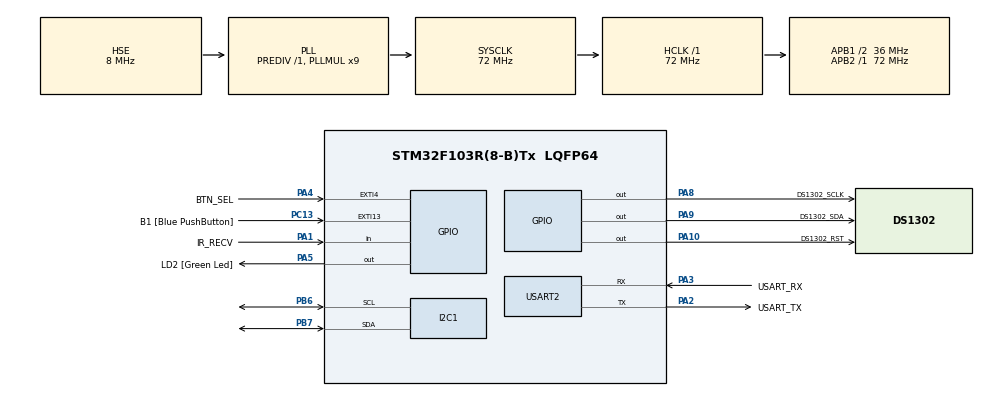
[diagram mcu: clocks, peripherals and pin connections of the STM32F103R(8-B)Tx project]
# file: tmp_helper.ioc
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Mcu.Family=STM32F1
Mcu.Name=STM32F103R(8-B)Tx
Mcu.Package=LQFP64
NVIC.EXTI15_10_IRQn=true\:0\:0\:false\:false\:true\:true\:true\:true
NVIC.EXTI4_IRQn=true\:0\:0\:false\:false\:true\:true\:true\:true
NVIC.PriorityGroup=NVIC_PRIORITYGROUP_4
PA1.GPIO_Label=IR_RECV
PA1.GPIO_PuPd=GPIO_PULLUP
PA1.Signal=GPIO_Input
PA10.GPIO_Label=DS1302_RST
PA10.GPIO_Speed=GPIO_SPEED_FREQ_HIGH
PA10.Signal=GPIO_Output
PA13.GPIO_Label=TMS
PA13.Mode=Serial_Wire
PA13.Signal=SYS_JTMS-SWDIO
PA14.GPIO_Label=TCK
PA14.Mode=Serial_Wire
PA14.Signal=SYS_JTCK-SWCLK
PA2.GPIO_Label=USART_TX
PA2.GPIO_Mode=GPIO_MODE_AF_PP
PA2.GPIO_PuPd=GPIO_NOPULL
PA2.GPIO_Speed=GPIO_SPEED_FREQ_LOW
PA2.Mode=Asynchronous
PA2.Signal=USART2_TX
PA3.GPIO_Label=USART_RX
PA3.GPIO_Mode=GPIO_MODE_AF_PP
PA3.GPIO_PuPd=GPIO_NOPULL
PA3.GPIO_Speed=GPIO_SPEED_FREQ_LOW
PA3.Mode=Asynchronous
PA3.Signal=USART2_RX
PA4.GPIO_Label=BTN_SEL
PA4.GPIO_PuPd=GPIO_PULLDOWN
PA4.Signal=GPXTI4
PA5.GPIO_Label=LD2 [Green Led]
PA5.GPIO_ModeDefaultOutputPP=GPIO_MODE_OUTPUT_PP
PA5.GPIO_PuPd=GPIO_NOPULL
PA5.GPIO_Speed=GPIO_SPEED_FREQ_LOW
PA5.Signal=GPIO_Output
PA8.GPIO_Label=DS1302_SCLK
PA8.GPIO_PuPd=GPIO_NOPULL
PA8.GPIO_Speed=GPIO_SPEED_FREQ_HIGH
PA8.Signal=GPIO_Output
PA9.GPIO_Label=DS1302_SDA
PA9.GPIO_Speed=GPIO_SPEED_FREQ_HIGH
PA9.Signal=GPIO_Output
PB3.GPIO_Label=SWO
PB3.Signal=SYS_JTDO-TRACESWO
PB6.Mode=I2C
PB6.Signal=I2C1_SCL
PB7.Mode=I2C
PB7.Signal=I2C1_SDA
PC13-TAMPER-RTC.GPIO_Label=B1 [Blue PushButton]
PC13-TAMPER-RTC.GPIO_PuPd=GPIO_NOPULL
PC13-TAMPER-RTC.Signal=GPXTI13
PC14-OSC32_IN.Mode=LSE-External-Oscillator
PC14-OSC32_IN.Signal=RCC_OSC32_IN
PC15-OSC32_OUT.Mode=LSE-External-Oscillator
PC15-OSC32_OUT.Signal=RCC_OSC32_OUT
PD0-OSC_IN.Mode=HSE-External-Clock-Source
PD0-OSC_IN.Signal=RCC_OSC_IN
PD1-OSC_OUT.Mode=HSE-External-Clock-Source
PD1-OSC_OUT.Signal=RCC_OSC_OUT
ProjectManager.HeapSize=0x200
ProjectManager.StackSize=0x400
ProjectManager.TargetToolchain=STM32CubeIDE
RCC.AHBFreq_Value=72000000
RCC.APB1CLKDivider=RCC_HCLK_DIV2
RCC.APB1Freq_Value=36000000
RCC.APB1TimFreq_Value=72000000
RCC.APB2Freq_Value=72000000
RCC.APB2TimFreq_Value=72000000
RCC.HCLKFreq_Value=72000000
RCC.PLLMUL=RCC_PLL_MUL9
RCC.PLLSourceVirtual=RCC_PLLSOURCE_HSE
RCC.RTCClockSelection=RCC_RTCCLKSOURCE_LSE
RCC.SYSCLKFreq_VALUE=72000000
RCC.SYSCLKSource=RCC_SYSCLKSOURCE_PLLCLK
RCC.USBFreq_Value=72000000
TIM2.AutoReloadPreload=TIM_AUTORELOAD_PRELOAD_ENABLE
TIM2.Prescaler=72-1
USART2.VirtualMode=VM_ASYNC
VP_TIM2_VS_ClockSourceINT.Mode=Internal
board=NUCLEO-F103RB

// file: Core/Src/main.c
/* USER CODE BEGIN Header */
/**
  ******************************************************************************
  * @file           : main.c
  * @brief          : Main program body
  ******************************************************************************
  * @attention
  *
  * Copyright (c) 2022 STMicroelectronics.
  * All rights reserved.
  *
  * This software is licensed under terms that can be found in the LICENSE file
  * in the root directory of this software component.
  * If no LICENSE file comes with this software, it is provided AS-IS.
  *
  ******************************************************************************
  */
/* USER CODE END Header */
#include "main.h"

/* USER CODE BEGIN Includes */
#include <string.h>
#include <stdio.h>
#include <stdbool.h>
#include "ds1302.h"
#include "ssd1306.h"
#include "tmp102.h"
#include "image.h"

/* USER CODE END Includes */

I2C_HandleTypeDef hi2c1;

TIM_HandleTypeDef htim2;

UART_HandleTypeDef huart2;

/* USER CODE BEGIN PV */
uint8_t changeScreen = 0;
uint8_t prevChangeScreen = 9;
static bool btnSel = false;
/* USER CODE END PV */

void SystemClock_Config(void);
static void MX_GPIO_Init(void);
static void MX_USART2_UART_Init(void);
static void MX_TIM2_Init(void);
static void MX_I2C1_Init(void);

/* USER CODE BEGIN 0 */
static void delay_us(uint16_t us) {
	__HAL_TIM_SET_COUNTER(&htim2, 0);
	while (__HAL_TIM_GET_COUNTER(&htim2) < us);
}

/* USER CODE END 0 */

int main(void)
{

  /* MCU Configuration--------------------------------------------------------*/

  /* Reset of all peripherals, Initializes the Flash interface and the Systick. */
  HAL_Init();

  /* Configure the system clock */
  SystemClock_Config();

  /* Initialize all configured peripherals */
  MX_GPIO_Init();
  MX_USART2_UART_Init();
  MX_TIM2_Init();
  MX_I2C1_Init();
  /* USER CODE BEGIN 2 */

  uint8_t buf[12];
  sprintf((char*)buf, "hello\r\n");
  HAL_UART_Transmit(&huart2, buf, strlen((char*)buf), HAL_MAX_DELAY);

  HAL_TIM_Base_Start(&htim2);
  DS1302_Init();
//  DS1302_WriteTime(buf);

  ssd1306_Init();
  ssd1306_FlipScreenVertically();
  ssd1306_Clear();
  ssd1306_SetColor(White);

  ssd1306_DrawBitmap(32, 0, 64, 64, Bochi_icon_mono_64);
  ssd1306_UpdateScreen();
  HAL_Delay(2000);

  // 年，月，日，星期，时，分，秒
  uint8_t datetime[7];
  for(int i=0; i<sizeof(datetime); i++)
	  datetime[i] = 0;

  // 更新温度，跳过循环标记
  uint8_t SKIP_FOR_TEMP = 9;
  uint8_t skipForTempCnt = 9;  // 计数
  // Temperature text buffer
  uint8_t tempBuf[12];
  // 1024 显示
  uint8_t x_1024 = 0;
  uint8_t x_step = 4;
  sprintf((char*)tempBuf, "0.0");

  /* USER CODE END 2 */

  /* Infinite loop */
  while (1)
  {

    /* USER CODE BEGIN 3 */
	// changeScreen 控制当前显示的内容
	// 最好记录 changeScreen 是否发生变化，使用 prevChangeScreen
	// 例如 时间，温度，关闭屏幕
	if(btnSel) {
		changeScreen ++;
		HAL_Delay(300);
	}

	if(changeScreen == 5) {
		changeScreen=0;
	}

	btnSel = false;
	// End of changeScreen

	if(changeScreen == 0 ) { //&& prevChangeScreen != changeScreen
		ssd1306_DisplayOff();
//		prevChangeScreen = changeScreen;
	} else if(changeScreen == 1) {
		// 显示时间
	  ssd1306_DisplayOn();
	  DS1302_ReadTime(datetime);

	  ssd1306_Clear();
	  ssd1306_SetCursor(20, 20);

	  sprintf((char*)buf, "%02d:%02d:%02d", datetime[4], datetime[5], datetime[6]);
	  ssd1306_WriteString((char*)buf, Font_11x18);
	  ssd1306_UpdateScreen();
	} else if (changeScreen == 2) {
		if(skipForTempCnt == SKIP_FOR_TEMP) {
			skipForTempCnt = 0;
			tmp102_ReadTemperature(tempBuf);
		}

		skipForTempCnt++;

		//显示温度
		ssd1306_Clear();

		ssd1306_SetCursor(8, 0);
		ssd1306_WriteString("Temperature 1", Font_7x10);
		ssd1306_SetCursor(8, 24);
		ssd1306_WriteString((char*)tempBuf, Font_11x18);
		ssd1306_UpdateScreen();
	} else if (changeScreen == 3) {
		if(x_1024 > 58) {
			x_step = -x_step;
		}

		ssd1306_Clear();
  		ssd1306_SetCursor(x_1024, 12);
  		ssd1306_WriteString("1024", Font_16x26);
  		ssd1306_UpdateScreen();
  		x_1024 += x_step;
  		prevChangeScreen = changeScreen;
  	} else if (changeScreen == 4 && prevChangeScreen != changeScreen) {
		prevChangeScreen = changeScreen;
		ssd1306_Clear();
  		ssd1306_DrawBitmap(16, 0, 94, 56, DoubleEleven);
  		ssd1306_UpdateScreen();
  	}

	HAL_Delay(100);
  }
  // End of while

  HAL_TIM_Base_Stop(&htim2);

  /* USER CODE END 3 */
}

void SystemClock_Config(void)
{
  RCC_OscInitTypeDef RCC_OscInitStruct = {0};
  RCC_ClkInitTypeDef RCC_ClkInitStruct = {0};

  /** Initializes the RCC Oscillators according to the specified parameters
  * in the RCC_OscInitTypeDef structure.
  */
  RCC_OscInitStruct.OscillatorType = RCC_OSCILLATORTYPE_HSE;
  RCC_OscInitStruct.HSEState = RCC_HSE_BYPASS;
  RCC_OscInitStruct.HSEPredivValue = RCC_HSE_PREDIV_DIV1;
  RCC_OscInitStruct.HSIState = RCC_HSI_ON;
  RCC_OscInitStruct.PLL.PLLState = RCC_PLL_ON;
  RCC_OscInitStruct.PLL.PLLSource = RCC_PLLSOURCE_HSE;
  RCC_OscInitStruct.PLL.PLLMUL = RCC_PLL_MUL9;
  if (HAL_RCC_OscConfig(&RCC_OscInitStruct) != HAL_OK)
  {
    Error_Handler();
  }

  /** Initializes the CPU, AHB and APB buses clocks
  */
  RCC_ClkInitStruct.ClockType = RCC_CLOCKTYPE_HCLK|RCC_CLOCKTYPE_SYSCLK
                              |RCC_CLOCKTYPE_PCLK1|RCC_CLOCKTYPE_PCLK2;
  RCC_ClkInitStruct.SYSCLKSource = RCC_SYSCLKSOURCE_PLLCLK;
  RCC_ClkInitStruct.AHBCLKDivider = RCC_SYSCLK_DIV1;
  RCC_ClkInitStruct.APB1CLKDivider = RCC_HCLK_DIV2;
  RCC_ClkInitStruct.APB2CLKDivider = RCC_HCLK_DIV1;

  if (HAL_RCC_ClockConfig(&RCC_ClkInitStruct, FLASH_LATENCY_2) != HAL_OK)
  {
    Error_Handler();
  }
}

static void MX_I2C1_Init(void)
{

  hi2c1.Instance = I2C1;
  hi2c1.Init.ClockSpeed = 100000;
  hi2c1.Init.DutyCycle = I2C_DUTYCYCLE_2;
  hi2c1.Init.OwnAddress1 = 0;
  hi2c1.Init.AddressingMode = I2C_ADDRESSINGMODE_7BIT;
  hi2c1.Init.DualAddressMode = I2C_DUALADDRESS_DISABLE;
  hi2c1.Init.OwnAddress2 = 0;
  hi2c1.Init.GeneralCallMode = I2C_GENERALCALL_DISABLE;
  hi2c1.Init.NoStretchMode = I2C_NOSTRETCH_DISABLE;
  if (HAL_I2C_Init(&hi2c1) != HAL_OK)
  {
    Error_Handler();
  }

}

static void MX_TIM2_Init(void)
{

  TIM_ClockConfigTypeDef sClockSourceConfig = {0};
  TIM_MasterConfigTypeDef sMasterConfig = {0};

  htim2.Instance = TIM2;
  htim2.Init.Prescaler = 72-1;
  htim2.Init.CounterMode = TIM_COUNTERMODE_UP;
  htim2.Init.Period = 65535;
  htim2.Init.ClockDivision = TIM_CLOCKDIVISION_DIV1;
  htim2.Init.AutoReloadPreload = TIM_AUTORELOAD_PRELOAD_ENABLE;
  if (HAL_TIM_Base_Init(&htim2) != HAL_OK)
  {
    Error_Handler();
  }
  sClockSourceConfig.ClockSource = TIM_CLOCKSOURCE_INTERNAL;
  if (HAL_TIM_ConfigClockSource(&htim2, &sClockSourceConfig) != HAL_OK)
  {
    Error_Handler();
  }
  sMasterConfig.MasterOutputTrigger = TIM_TRGO_RESET;
  sMasterConfig.MasterSlaveMode = TIM_MASTERSLAVEMODE_DISABLE;
  if (HAL_TIMEx_MasterConfigSynchronization(&htim2, &sMasterConfig) != HAL_OK)
  {
    Error_Handler();
  }

}

static void MX_USART2_UART_Init(void)
{

  huart2.Instance = USART2;
  huart2.Init.BaudRate = 115200;
  huart2.Init.WordLength = UART_WORDLENGTH_8B;
  huart2.Init.StopBits = UART_STOPBITS_1;
  huart2.Init.Parity = UART_PARITY_NONE;
  huart2.Init.Mode = UART_MODE_TX_RX;
  huart2.Init.HwFlowCtl = UART_HWCONTROL_NONE;
  huart2.Init.OverSampling = UART_OVERSAMPLING_16;
  if (HAL_UART_Init(&huart2) != HAL_OK)
  {
    Error_Handler();
  }

}

static void MX_GPIO_Init(void)
{
  GPIO_InitTypeDef GPIO_InitStruct = {0};

  /* GPIO Ports Clock Enable */
  __HAL_RCC_GPIOC_CLK_ENABLE();
  __HAL_RCC_GPIOD_CLK_ENABLE();
  __HAL_RCC_GPIOA_CLK_ENABLE();
  __HAL_RCC_GPIOB_CLK_ENABLE();

  /*Configure GPIO pin Output Level */
  HAL_GPIO_WritePin(GPIOA, LD2_Pin|DS1302_SCLK_Pin|DS1302_SDA_Pin|DS1302_RST_Pin, GPIO_PIN_RESET);

  /*Configure GPIO pin : B1_Pin */
  GPIO_InitStruct.Pin = B1_Pin;
  GPIO_InitStruct.Mode = GPIO_MODE_IT_RISING;
  GPIO_InitStruct.Pull = GPIO_NOPULL;
  HAL_GPIO_Init(B1_GPIO_Port, &GPIO_InitStruct);

  /*Configure GPIO pin : IR_RECV_Pin */
  GPIO_InitStruct.Pin = IR_RECV_Pin;
  GPIO_InitStruct.Mode = GPIO_MODE_INPUT;
  GPIO_InitStruct.Pull = GPIO_PULLUP;
  HAL_GPIO_Init(IR_RECV_GPIO_Port, &GPIO_InitStruct);

  /*Configure GPIO pin : BTN_SEL_Pin */
  GPIO_InitStruct.Pin = BTN_SEL_Pin;
  GPIO_InitStruct.Mode = GPIO_MODE_IT_RISING;
  GPIO_InitStruct.Pull = GPIO_PULLDOWN;
  HAL_GPIO_Init(BTN_SEL_GPIO_Port, &GPIO_InitStruct);

  /*Configure GPIO pin : LD2_Pin */
  GPIO_InitStruct.Pin = LD2_Pin;
  GPIO_InitStruct.Mode = GPIO_MODE_OUTPUT_PP;
  GPIO_InitStruct.Pull = GPIO_NOPULL;
  GPIO_InitStruct.Speed = GPIO_SPEED_FREQ_LOW;
  HAL_GPIO_Init(LD2_GPIO_Port, &GPIO_InitStruct);

  /*Configure GPIO pins : DS1302_SCLK_Pin DS1302_SDA_Pin DS1302_RST_Pin */
  GPIO_InitStruct.Pin = DS1302_SCLK_Pin|DS1302_SDA_Pin|DS1302_RST_Pin;
  GPIO_InitStruct.Mode = GPIO_MODE_OUTPUT_PP;
  GPIO_InitStruct.Pull = GPIO_NOPULL;
  GPIO_InitStruct.Speed = GPIO_SPEED_FREQ_HIGH;
  HAL_GPIO_Init(GPIOA, &GPIO_InitStruct);

  /* EXTI interrupt init*/
  HAL_NVIC_SetPriority(EXTI4_IRQn, 0, 0);
  HAL_NVIC_EnableIRQ(EXTI4_IRQn);

  HAL_NVIC_SetPriority(EXTI15_10_IRQn, 0, 0);
  HAL_NVIC_EnableIRQ(EXTI15_10_IRQn);

}

/* USER CODE BEGIN 4 */
void HAL_GPIO_EXTI_Callback(uint16_t GPIO_Pin)
{
  if(GPIO_Pin == BTN_SEL_Pin) {
	  btnSel = true;
  } else {
      __NOP();
  }
}
/* USER CODE END 4 */

void Error_Handler(void)
{
  __disable_irq();
  while (1)
  {
  }
}
